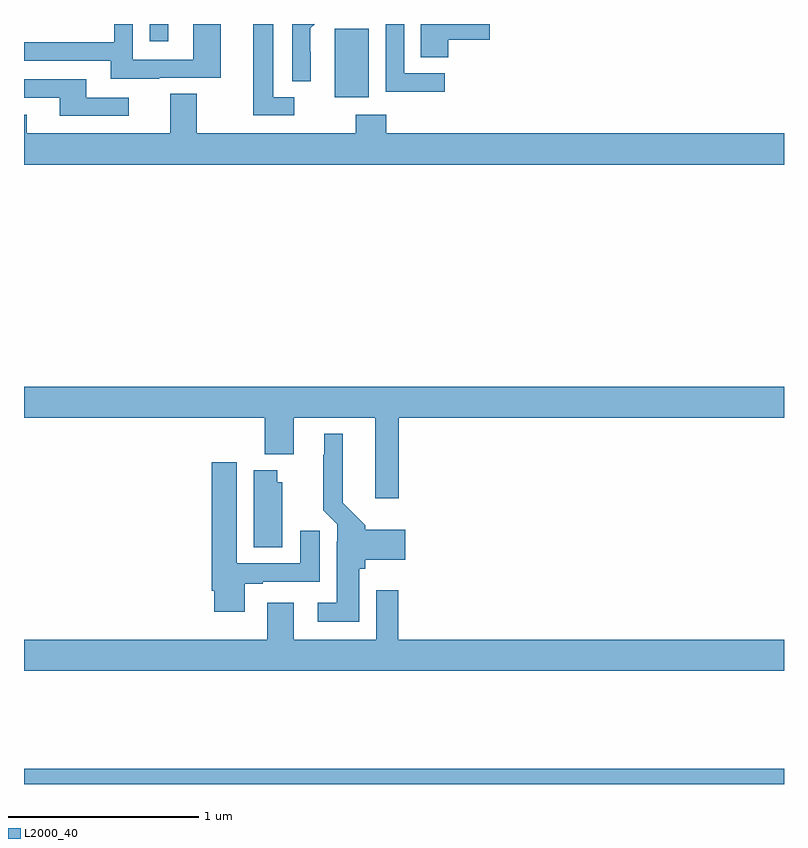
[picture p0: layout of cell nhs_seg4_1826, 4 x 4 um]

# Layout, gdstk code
import gdstk
lib = gdstk.Library(unit=1e-6, precision=1e-09)
def R(c, l, rs):  # rectangles x0, y0, x1, y1
    for r in rs: c.add(gdstk.rectangle(r[:2], r[2:], *l))
def P(c, l, *ps):  # polygons
    for p in ps: c.add(gdstk.Polygon(p, *l))
L2000_40 = (2000, 40)

nhs_seg4_1826 = lib.new_cell('nhs_seg4_1826')
R(nhs_seg4_1826, L2000_40, [(205,786.9,209,786.98), (206.636,790.514,206.815,790.875), (205.662,790.809,205.759,790.9)])
P(nhs_seg4_1826, L2000_40, [(205.711,790.617),(206.035,790.617),(206.035,790.9),(205.89,790.9),(205.89,790.713),(205.572,790.713),(205.572,790.9),(205.476,790.9),(205.476,790.803),(205,790.803),(205,790.707),(205.457,790.707),(205.457,790.613),(205.711,790.613)],
  [(206.422,790.515),(206.311,790.515),(206.311,790.9),(206.207,790.9),(206.207,790.419),(206.422,790.419)],
  [(207.233,790.817),(207.451,790.817),(207.451,790.9),(207.089,790.9),(207.089,790.726),(207.233,790.726)],
  [(206.508,790.754),(206.507,790.754),(206.507,790.877),(206.53,790.9),(206.412,790.9),(206.412,790.6),(206.508,790.6)],
  [(207.214,790.641),(207,790.641),(207,790.9),(206.904,790.9),(206.904,790.543),(207.214,790.543)],
  [(205.552,790.512),(205.327,790.512),(205.327,790.608),(205,790.608),(205,790.512),(205.187,790.512),(205.187,790.416),(205.552,790.416)],
  [(209,790.324),(206.906,790.324),(206.906,790.423),(206.746,790.423),(206.746,790.324),(205.909,790.324),(205.909,790.532),(205.769,790.532),(205.769,790.324),(205.015,790.324),(205.015,790.423),(205,790.423),(205,790.16),(209,790.16)],
  [(206.972,788.828),(209,788.828),(209,788.992),(205,788.992),(205,788.828),(206.267,788.828),(206.267,788.636),(206.419,788.636),(206.419,788.828),(206.849,788.828),(206.849,788.403),(206.972,788.403)],
  [(206.764,788.034),(206.795,788.034),(206.795,788.081),(207.007,788.081),(207.007,788.239),(206.795,788.239),(206.795,788.262),(206.677,788.38),(206.677,788.743),(206.579,788.743),(206.579,788.633),(206.575,788.633),(206.575,788.342),(206.649,788.268),(206.649,788.174),(206.645,788.174),(206.645,787.855),(206.547,787.855),(206.547,787.754),(206.764,787.754)],
  [(206.161,787.953),(206.257,787.953),(206.257,787.965),(206.557,787.965),(206.557,788.233),(206.453,788.233),(206.453,788.061),(206.119,788.061),(206.119,788.593),(205.988,788.593),(205.988,787.918),(206,787.918),(206,787.806),(206.161,787.806)],
  [(206.359,788.487),(206.332,788.487),(206.332,788.551),(206.21,788.551),(206.21,788.146),(206.359,788.146)],
  [(209,787.66),(206.969,787.66),(206.969,787.921),(206.853,787.921),(206.853,787.66),(206.419,787.66),(206.419,787.855),(206.279,787.855),(206.279,787.66),(205,787.66),(205,787.496),(209,787.496)])

lib.write_gds('nhs_seg4_1826.gds')
